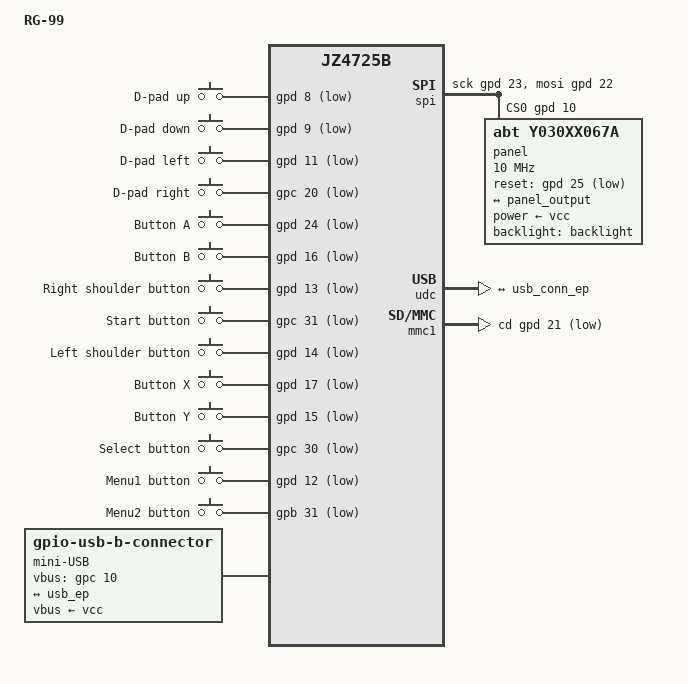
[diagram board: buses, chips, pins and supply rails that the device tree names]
// SPDX-License-Identifier: GPL-2.0
/dts-v1/;

#include "bits/rs90-base.dtsi"

/ {
	compatible = "ylm,rg99", "ingenic,jz4725b";
	model = "RG-99";

	spi {
		compatible = "spi-gpio";
		#address-cells = <1>;
		#size-cells = <0>;

		sck-gpios = <&gpd 23 GPIO_ACTIVE_HIGH>;
		mosi-gpios = <&gpd 22 GPIO_ACTIVE_HIGH>;
		cs-gpios = <&gpd 10 GPIO_ACTIVE_HIGH>;
		num-chipselects = <1>;

		panel@0 {
			compatible = "abt,y030xx067a";
			reg = <0>;

			spi-max-frequency = <10000000>;
			spi-3wire;

			reset-gpios = <&gpd 25 GPIO_ACTIVE_LOW>;

			backlight = <&backlight>;
			power-supply = <&vcc>;

			port {
				panel_input: endpoint {
					remote-endpoint = <&panel_output>;
				};
			};
		};
	};

	gpio-keys {
		compatible = "gpio-keys";
		#address-cells = <1>;
		#size-cells = <0>;

		button-0 {
			label = "D-pad up";
			linux,code = <KEY_UP>;
			gpios = <&gpd 8 GPIO_ACTIVE_LOW>;
		};

		button-1 {
			label = "D-pad down";
			linux,code = <KEY_DOWN>;
			gpios = <&gpd 9 GPIO_ACTIVE_LOW>;
		};

		button-2 {
			label = "D-pad left";
			linux,code = <KEY_LEFT>;
			gpios = <&gpd 11 GPIO_ACTIVE_LOW>;
		};

		button-3 {
			label = "D-pad right";
			linux,code = <KEY_RIGHT>;
			gpios = <&gpc 20 GPIO_ACTIVE_LOW>;
		};

		button-4 {
			label = "Button A";
			linux,code = <KEY_LEFTCTRL>;
			gpios = <&gpd 24 GPIO_ACTIVE_LOW>;
		};

		button-5 {
			label = "Button B";
			linux,code = <KEY_LEFTALT>;
			gpios = <&gpd 16 GPIO_ACTIVE_LOW>;
		};

		button-6 {
			label = "Right shoulder button";
			linux,code = <KEY_BACKSPACE>;
			gpios = <&gpd 13 GPIO_ACTIVE_LOW>;
			debounce-interval = <10>;
		};

		button-7 {
			label = "Start button";
			linux,code = <KEY_ENTER>;
			gpios = <&gpc 31 GPIO_ACTIVE_LOW>;
		};

		button-8 {
			label = "Left shoulder button";
			linux,code = <KEY_TAB>;
			gpios = <&gpd 14 GPIO_ACTIVE_LOW>;
			debounce-interval = <10>;
		};

		button-9 {
			label = "Button X";
			linux,code = <KEY_SPACE>;
			gpios = <&gpd 17 GPIO_ACTIVE_LOW>;
		};

		button-10 {
			label = "Button Y";
			linux,code = <KEY_LEFTSHIFT>;
			gpios = <&gpd 15 GPIO_ACTIVE_LOW>;
		};

		button-11 {
			label = "Select button";
			linux,code = <KEY_ESC>;
			gpios = <&gpc 30 GPIO_ACTIVE_LOW>;
		};

		button-12 {
			label = "Menu1 button";
			linux,code = <KEY_PAGEUP>;
			gpios = <&gpd 12 GPIO_ACTIVE_LOW>;
			debounce-interval = <10>;
		};

		button-13 {
			label = "Menu2 button";
			linux,code = <KEY_PAGEDOWN>;
			gpios = <&gpb 31 GPIO_ACTIVE_LOW>;
			debounce-interval = <10>;
		};
	};

	usb_conn: connector {
		compatible = "gpio-usb-b-connector", "usb-b-connector";
		label = "mini-USB";
		type = "mini";

		vbus-gpios = <&gpc 10 GPIO_ACTIVE_HIGH>;
		vbus-supply = <&vcc>;

		pinctrl-names = "default";
		pinctrl-0 = <&pins_vbus>;

		port {
			usb_conn_ep: endpoint {
				remote-endpoint = <&usb_ep>;
			};
		};
	};
};

&udc {
	port {
		usb_ep: endpoint {
			remote-endpoint = <&usb_conn_ep>;
		};
	};
};

&sound_card {
	/* TODO: What's the headphones detection GPIO? */
	simple-audio-card,hp-det-gpio;
};

&pmu {
	power-supplies = <&usb_conn>;
};

&pinctrl {
	pins_vbus: vbus {
		pins = "PC10";
		bias-disable;
	};
};

&pins_lcd {
	groups = "lcd-8bit";
};

&pins_mmc1_cd {
	pins = "PD21";
};

&mmc1 {
	cd-gpios = <&gpd 21 GPIO_ACTIVE_LOW>;
};

&vmem {
	/* Reserve 2 MiB of VRAM */
	reg = <0x1e00000 0x200000>;
};

&battery {
	voltage-min-design-microvolt = <3900000>;
	voltage-max-design-microvolt = <4200000>;
};

&resistor {
	output-ohms = <28000>;
	full-ohms = <100000>;
};
